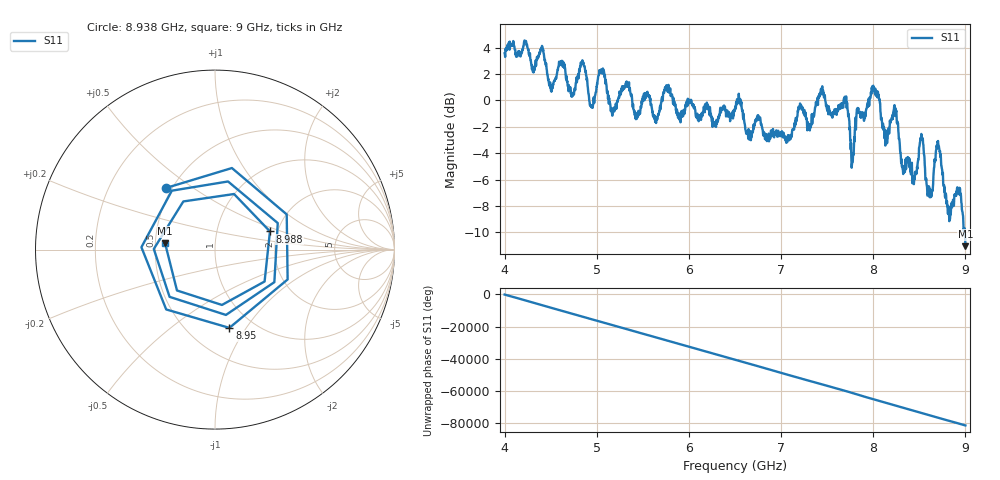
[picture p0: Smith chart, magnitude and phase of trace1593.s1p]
! Created with skrf 1.8.0 (http://scikit-rf.org).
# Hz S RI R 50.0
!freq ReS11 ImS11
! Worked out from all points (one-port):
!   1601 points, 4 GHz to 9 GHz, reference 50 ohm
!   lowest |S11| = -11.0 dB at 9 GHz (marker M1), VSWR 1.78, Z = 28.2 + j2.16 ohm
!   |S11| at or under -10 dB: 8.993064 GHz to end of sweep
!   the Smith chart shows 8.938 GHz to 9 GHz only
!   S11 on the Smith chart (normalised r, x): 8.938 GHz: 0.46, +0.39; 8.95 GHz: 0.78, -0.84; 8.988 GHz: 1.82, +0.41; 9 GHz: 0.56, +0.04
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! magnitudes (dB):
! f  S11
! 4 GHz  3.6
! 4.403 GHz  4.0
! 4.503 GHz  0.7
! 4.625 GHz  2.9
! 4.741 GHz  0.4
! 4.85 GHz  2.8
! 4.944 GHz  -0.5
! 5.053 GHz  2.2
! 5.166 GHz  -1.0
! 5.25 GHz  0.6
! 5.875 GHz  -1.1
! 6.5 GHz  -0.7
! 7.125 GHz  -2.2
! 7.447 GHz  1.1
! 7.7 GHz  0.1
! 7.75 GHz  -3.0
! 8.009 GHz  0.9
! 8.241 GHz  -0.6
! 8.375 GHz  -4.3
! 8.45 GHz  -6.0
! 8.525 GHz  -2.6
! 8.612 GHz  -7.3
! 8.706 GHz  -3.4
! 8.819 GHz  -8.5
! 8.938 GHz  -7.2
! 8.95 GHz  -7.1
! 8.988 GHz  -9.8
! 9 GHz  -11.0
